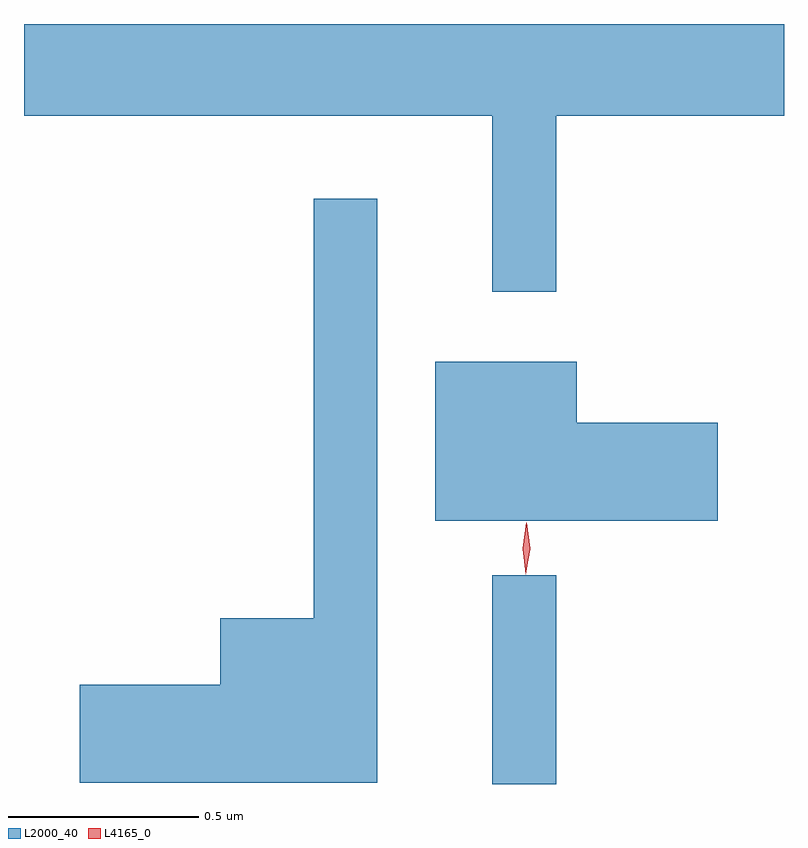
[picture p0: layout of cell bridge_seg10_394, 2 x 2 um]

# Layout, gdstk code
import gdstk
lib = gdstk.Library(unit=1e-6, precision=1e-09)
def R(c, l, rs):  # rectangles x0, y0, x1, y1
    for r in rs: c.add(gdstk.rectangle(r[:2], r[2:], *l))
def P(c, l, *ps):  # polygons
    for p in ps: c.add(gdstk.Polygon(p, *l))
L2000_40 = (2000, 40)
L4165_0 = (4165, 0)

bridge_seg10_394 = lib.new_cell('bridge_seg10_394')
R(bridge_seg10_394, L2000_40, [(1214.641,2149.898,1214.809,2150.448)])
P(bridge_seg10_394, L2000_40, [(1214.809,2151.656),(1215.409,2151.656),(1215.409,2151.898),(1213.409,2151.898),(1213.409,2151.656),(1214.641,2151.656),(1214.641,2151.193),(1214.809,2151.193)],
  [(1214.339,2151.438),(1214.171,2151.438),(1214.171,2150.334),(1213.926,2150.334),(1213.926,2150.159),(1213.556,2150.159),(1213.556,2149.901),(1214.339,2149.901)],
  [(1215.234,2150.849),(1214.864,2150.849),(1214.864,2151.009),(1214.491,2151.009),(1214.491,2150.591),(1215.234,2150.591)])
P(bridge_seg10_394, L4165_0, [(1214.729,2150.45),(1214.721,2150.518),(1214.731,2150.586),(1214.732,2150.586),(1214.732,2150.586),(1214.741,2150.518),(1214.73,2150.45),(1214.73,2150.45)],
  [(1214.73,2150.453),(1214.729,2150.454),(1214.721,2150.516),(1214.731,2150.579),(1214.732,2150.58),(1214.732,2150.579),(1214.741,2150.516),(1214.73,2150.454)])

lib.write_gds('bridge_seg10_394.gds')
